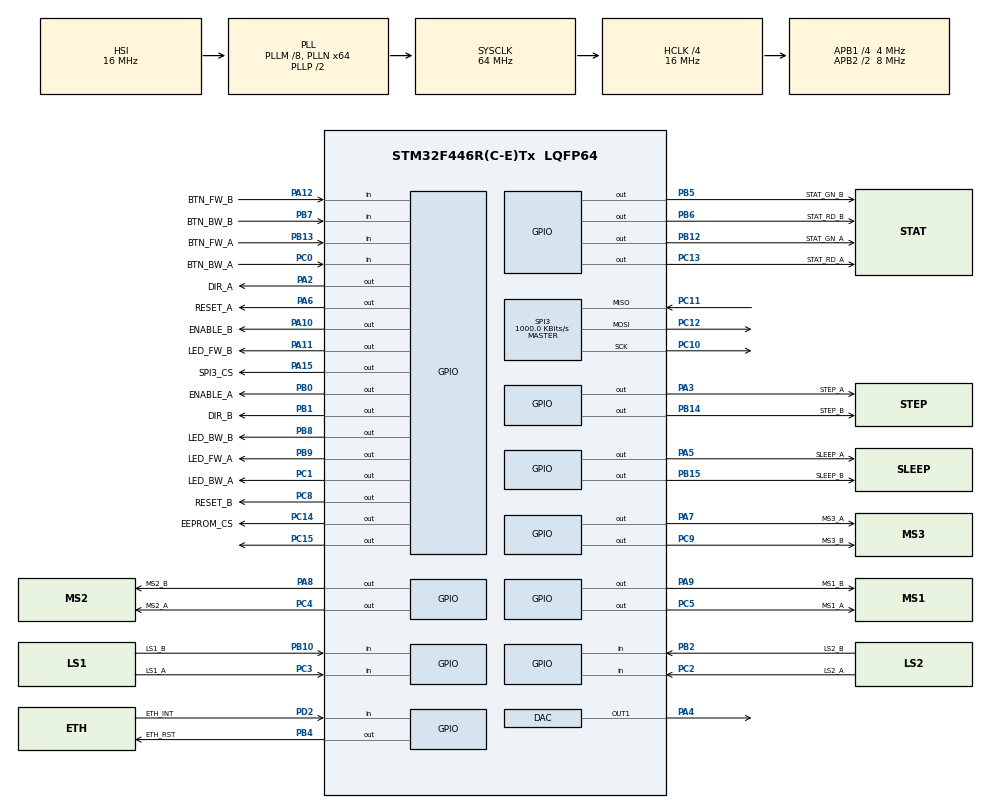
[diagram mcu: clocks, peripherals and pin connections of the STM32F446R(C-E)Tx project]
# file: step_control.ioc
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Mcu.Family=STM32F4
Mcu.Name=STM32F446R(C-E)Tx
Mcu.Package=LQFP64
NVIC.PriorityGroup=NVIC_PRIORITYGROUP_4
NVIC.TIM1_UP_TIM10_IRQn=true\:0\:0\:false\:false\:true\:true\:true\:true
NVIC.TIM8_UP_TIM13_IRQn=true\:0\:0\:false\:false\:true\:true\:true\:true
PA10.GPIO_Label=ENABLE_B
PA10.Signal=GPIO_Output
PA11.GPIO_Label=LED_FW_B
PA11.Signal=GPIO_Output
PA12.GPIO_Label=BTN_FW_B
PA12.Signal=GPIO_Input
PA13.Mode=Trace_Asynchronous_SW
PA13.Signal=SYS_JTMS-SWDIO
PA14.Mode=Trace_Asynchronous_SW
PA14.Signal=SYS_JTCK-SWCLK
PA15.GPIO_Label=SPI3_CS
PA15.GPIO_Speed=GPIO_SPEED_FREQ_MEDIUM
PA15.PinState=GPIO_PIN_SET
PA15.Signal=GPIO_Output
PA2.GPIO_Label=DIR_A
PA2.Signal=GPIO_Output
PA3.GPIO_Label=STEP_A
PA3.Signal=GPIO_Output
PA4.Signal=COMP_DAC1_group
PA5.GPIO_Label=SLEEP_A
PA5.Signal=GPIO_Output
PA6.GPIO_Label=RESET_A
PA6.Signal=GPIO_Output
PA7.GPIO_Label=MS3_A
PA7.PinState=GPIO_PIN_RESET
PA7.Signal=GPIO_Output
PA8.GPIO_Label=MS2_B
PA8.PinState=GPIO_PIN_RESET
PA8.Signal=GPIO_Output
PA9.GPIO_Label=MS1_B
PA9.PinState=GPIO_PIN_RESET
PA9.Signal=GPIO_Output
PB0.GPIO_Label=ENABLE_A
PB0.Signal=GPIO_Output
PB1.GPIO_Label=DIR_B
PB1.Signal=GPIO_Output
PB10.GPIO_Label=LS1_B
PB10.Signal=GPIO_Input
PB12.GPIO_Label=STAT_GN_A
PB12.Signal=GPIO_Output
PB13.GPIO_Label=BTN_FW_A
PB13.Signal=GPIO_Input
PB14.GPIO_Label=STEP_B
PB14.Signal=GPIO_Output
PB15.GPIO_Label=SLEEP_B
PB15.Signal=GPIO_Output
PB2.GPIO_Label=LS2_B
PB2.Signal=GPIO_Input
PB3.Mode=Trace_Asynchronous_SW
PB3.Signal=SYS_JTDO-SWO
PB4.GPIO_Label=ETH_RST
PB4.GPIO_Speed=GPIO_SPEED_FREQ_MEDIUM
PB4.PinState=GPIO_PIN_SET
PB4.Signal=GPIO_Output
PB5.GPIO_Label=STAT_GN_B
PB5.Signal=GPIO_Output
PB6.GPIO_Label=STAT_RD_B
PB6.Signal=GPIO_Output
PB7.GPIO_Label=BTN_BW_B
PB7.Signal=GPIO_Input
PB8.GPIO_Label=LED_BW_B
PB8.Signal=GPIO_Output
PB9.GPIO_Label=LED_FW_A
PB9.Signal=GPIO_Output
PC0.GPIO_Label=BTN_BW_A
PC0.Signal=GPIO_Input
PC1.GPIO_Label=LED_BW_A
PC1.Signal=GPIO_Output
PC10.Mode=Full_Duplex_Master
PC10.Signal=SPI3_SCK
PC11.Mode=Full_Duplex_Master
PC11.Signal=SPI3_MISO
PC12.Mode=Full_Duplex_Master
PC12.Signal=SPI3_MOSI
PC13.GPIO_Label=STAT_RD_A
PC13.Signal=GPIO_Output
PC14-OSC32_IN.GPIO_Label=EEPROM_CS
PC14-OSC32_IN.PinState=GPIO_PIN_SET
PC14-OSC32_IN.Signal=GPIO_Output
PC15-OSC32_OUT.Signal=GPIO_Output
PC2.GPIO_Label=LS2_A
PC2.Signal=GPIO_Input
PC3.GPIO_Label=LS1_A
PC3.Signal=GPIO_Input
PC4.GPIO_Label=MS2_A
PC4.PinState=GPIO_PIN_RESET
PC4.Signal=GPIO_Output
PC5.GPIO_Label=MS1_A
PC5.PinState=GPIO_PIN_RESET
PC5.Signal=GPIO_Output
PC8.GPIO_Label=RESET_B
PC8.Signal=GPIO_Output
PC9.GPIO_Label=MS3_B
PC9.PinState=GPIO_PIN_RESET
PC9.Signal=GPIO_Output
PD2.GPIO_Label=ETH_INT
PD2.Signal=GPIO_Input
PH0-OSC_IN.Mode=HSE-External-Clock-Source
PH0-OSC_IN.Signal=RCC_OSC_IN
PH1-OSC_OUT.Mode=HSE-External-Clock-Source
PH1-OSC_OUT.Signal=RCC_OSC_OUT
ProjectManager.HeapSize=0x200
ProjectManager.StackSize=0x400
ProjectManager.TargetToolchain=STM32CubeIDE
RCC.AHBCLKDivider=RCC_SYSCLK_DIV4
RCC.AHBFreq_Value=16000000
RCC.APB1CLKDivider=RCC_HCLK_DIV4
RCC.APB1Freq_Value=4000000
RCC.APB1TimFreq_Value=8000000
RCC.APB2CLKDivider=RCC_HCLK_DIV2
RCC.APB2Freq_Value=8000000
RCC.APB2TimFreq_Value=16000000
RCC.CortexFreq_Value=16000000
RCC.HCLKFreq_Value=16000000
RCC.PLLM=8
RCC.PLLN=64
RCC.SYSCLKFreq_VALUE=64000000
RCC.SYSCLKSource=RCC_SYSCLKSOURCE_PLLCLK
RCC.USBFreq_Value=64000000
RCC.VCOOutputFreq_Value=128000000
SH.COMP_DAC1_group.0=DAC_OUT1,DAC_OUT1
SPI3.BaudRatePrescaler=SPI_BAUDRATEPRESCALER_4
SPI3.CLKPhase=SPI_PHASE_1EDGE
SPI3.CLKPolarity=SPI_POLARITY_LOW
SPI3.CalculateBaudRate=1000.0 KBits/s
SPI3.Direction=SPI_DIRECTION_2LINES
SPI3.Mode=SPI_MODE_MASTER
SPI3.VirtualType=VM_MASTER
TIM1.Period=9999
TIM1.Prescaler=0
TIM8.Period=9999
TIM8.Prescaler=0
VP_TIM1_VS_ClockSourceINT.Mode=Internal
VP_TIM8_VS_ClockSourceINT.Mode=Internal
board=custom

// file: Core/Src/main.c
/* USER CODE BEGIN Header */
/**
  ******************************************************************************
  * @file           : main.c
  * @brief          : Main program body
  ******************************************************************************
  * @attention
  *
  * Copyright (c) 2023 STMicroelectronics.
  * All rights reserved.
  *
  * This software is licensed under terms that can be found in the LICENSE file
  * in the root directory of this software component.
  * If no LICENSE file comes with this software, it is provided AS-IS.
  *
  ******************************************************************************
  */
/* USER CODE END Header */
#include "main.h"
#include "dac.h"
#include "spi.h"
#include "tim.h"
#include "gpio.h"

/* USER CODE BEGIN Includes */
#include "controller.h"
#include "stepper.h"
#include "w5100s.h"
/* USER CODE END Includes */

/* USER CODE BEGIN PV */
uint16_t adc = 0;

extern Stepper stepperA;
extern Stepper stepperB;
extern W5100s w5100s;

uint8_t ipaddr[4]=IP_ADDR;
uint8_t ipgate[4]=IP_GATE;
uint8_t ipmask[4]=IP_MASK;
uint16_t local_port = 10;
/* USER CODE END PV */

void SystemClock_Config(void);

/* USER CODE BEGIN 0 */
void HAL_TIM_PeriodElapsedCallback(TIM_HandleTypeDef *htim)
{
        if(htim->Instance == TIM1)
        	stepper_step(&stepperA, htim);
        else if(htim->Instance == TIM8)
        	stepper_step(&stepperB, htim);
}
/* USER CODE END 0 */

int main(void)
{

  /* MCU Configuration--------------------------------------------------------*/

  /* Reset of all peripherals, Initializes the Flash interface and the Systick. */
  HAL_Init();

  /* Configure the system clock */
  SystemClock_Config();

  /* Initialize all configured peripherals */
  MX_GPIO_Init();
  MX_SPI3_Init();
  MX_DAC_Init();
  MX_TIM1_Init();
  MX_TIM8_Init();
  /* USER CODE BEGIN 2 */
  __HAL_TIM_CLEAR_FLAG(&htim1, TIM_SR_UIF); // очищаем флаг
   HAL_TIM_Base_Start_IT(&htim1);

   __HAL_TIM_CLEAR_FLAG(&htim8, TIM_SR_UIF); // очищаем флаг
   HAL_TIM_Base_Start_IT(&htim8);

   set_dac(1200);
  /* USER CODE END 2 */

  /* Infinite loop */
  /* USER CODE BEGIN WHILE */

   steppers_init();
   w5100s_init();

  while (1)
  {
	 controller();
    /* USER CODE END WHILE */

  }
}

void SystemClock_Config(void)
{
  RCC_OscInitTypeDef RCC_OscInitStruct = {0};
  RCC_ClkInitTypeDef RCC_ClkInitStruct = {0};

  /** Configure the main internal regulator output voltage
  */
  __HAL_RCC_PWR_CLK_ENABLE();
  __HAL_PWR_VOLTAGESCALING_CONFIG(PWR_REGULATOR_VOLTAGE_SCALE3);

  /** Initializes the RCC Oscillators according to the specified parameters
  * in the RCC_OscInitTypeDef structure.
  */
  RCC_OscInitStruct.OscillatorType = RCC_OSCILLATORTYPE_HSI;
  RCC_OscInitStruct.HSIState = RCC_HSI_ON;
  RCC_OscInitStruct.HSICalibrationValue = RCC_HSICALIBRATION_DEFAULT;
  RCC_OscInitStruct.PLL.PLLState = RCC_PLL_ON;
  RCC_OscInitStruct.PLL.PLLSource = RCC_PLLSOURCE_HSI;
  RCC_OscInitStruct.PLL.PLLM = 8;
  RCC_OscInitStruct.PLL.PLLN = 64;
  RCC_OscInitStruct.PLL.PLLP = RCC_PLLP_DIV2;
  RCC_OscInitStruct.PLL.PLLQ = 2;
  RCC_OscInitStruct.PLL.PLLR = 2;
  if (HAL_RCC_OscConfig(&RCC_OscInitStruct) != HAL_OK)
  {
    Error_Handler();
  }

  /** Initializes the CPU, AHB and APB buses clocks
  */
  RCC_ClkInitStruct.ClockType = RCC_CLOCKTYPE_HCLK|RCC_CLOCKTYPE_SYSCLK
                              |RCC_CLOCKTYPE_PCLK1|RCC_CLOCKTYPE_PCLK2;
  RCC_ClkInitStruct.SYSCLKSource = RCC_SYSCLKSOURCE_PLLCLK;
  RCC_ClkInitStruct.AHBCLKDivider = RCC_SYSCLK_DIV4;
  RCC_ClkInitStruct.APB1CLKDivider = RCC_HCLK_DIV4;
  RCC_ClkInitStruct.APB2CLKDivider = RCC_HCLK_DIV2;

  if (HAL_RCC_ClockConfig(&RCC_ClkInitStruct, FLASH_LATENCY_0) != HAL_OK)
  {
    Error_Handler();
  }
}

/* USER CODE BEGIN 4 */
int __io_putchar(int ch)
{
	ITM_SendChar(ch);
	return ch;
}
/* USER CODE END 4 */

void Error_Handler(void)
{
  __disable_irq();
  while (1)
  {
  }
}
